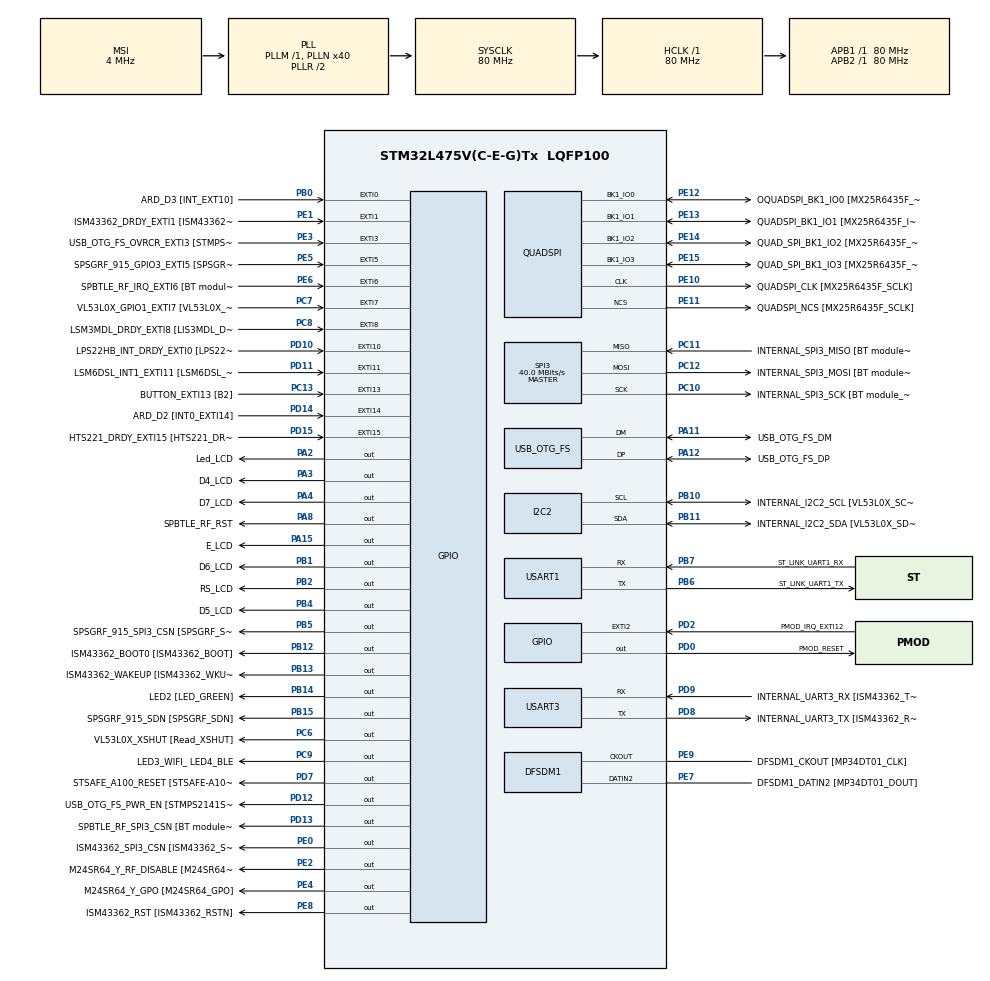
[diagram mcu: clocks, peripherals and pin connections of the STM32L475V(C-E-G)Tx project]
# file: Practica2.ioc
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I2C2.Timing=0x10909CEC
Mcu.Family=STM32L4
Mcu.Name=STM32L475V(C-E-G)Tx
Mcu.Package=LQFP100
NVIC.EXTI15_10_IRQn=true\:0\:0\:false\:false\:true\:true\:true\:true
NVIC.EXTI9_5_IRQn=true\:0\:0\:false\:false\:true\:true\:true\:true
NVIC.PriorityGroup=NVIC_PRIORITYGROUP_4
PA0.GPIO_Label=ARD_D1 [UART4_TX]
PA0.Signal=UART4_TX
PA1.GPIO_Label=ARD_D0 [UART4_RX]
PA1.Signal=UART4_RX
PA10.GPIO_Label=USB_OTG_FS_ID
PA10.Signal=USB_OTG_FS_ID
PA11.GPIO_Label=USB_OTG_FS_DM
PA11.Mode=Device_Only
PA11.Signal=USB_OTG_FS_DM
PA12.GPIO_Label=USB_OTG_FS_DP
PA12.Mode=Device_Only
PA12.Signal=USB_OTG_FS_DP
PA13\ (JTMS-SWDIO).GPIO_Label=SYS_JTMS_SWDIO
PA13\ (JTMS-SWDIO).Mode=Serial_Wire
PA13\ (JTMS-SWDIO).Signal=SYS_JTMS-SWDIO
PA14\ (JTCK-SWCLK).GPIO_Label=SYS_JTCK_SWCLK
PA14\ (JTCK-SWCLK).Mode=Serial_Wire
PA14\ (JTCK-SWCLK).Signal=SYS_JTCK-SWCLK
PA15\ (JTDI).GPIO_Label=E_LCD
PA15\ (JTDI).Signal=GPIO_Output
PA2.GPIO_Label=Led_LCD
PA2.Signal=GPIO_Output
PA3.GPIO_Label=D4_LCD
PA3.Signal=GPIO_Output
PA4.GPIO_Label=D7_LCD
PA4.Signal=GPIO_Output
PA5.GPIO_Label=ARD_D13 [SPI1_SCK]
PA5.Signal=SPI1_SCK
PA6.GPIO_Label=ARD_D12 [SPI1_MISO]
PA6.Signal=SPI1_MISO
PA7.GPIO_Label=ARD_D11 [SPI1_MOSI]
PA7.Signal=SPI1_MOSI
PA8.GPIO_Label=SPBTLE_RF_RST
PA8.Signal=GPIO_Output
PA9.GPIO_Label=USB_OTG_FS_VBUS [STMPS2141STR_OUT]
PA9.Signal=USB_OTG_FS_VBUS
PB0.GPIO_Label=ARD_D3 [INT_EXT10]
PB0.Signal=GPXTI0
PB1.GPIO_Label=D6_LCD
PB1.Signal=GPIO_Output
PB10.GPIO_Label=INTERNAL_I2C2_SCL [VL53L0X_SCL]
PB10.GPIO_Pu=GPIO_PULLUP
PB10.Mode=I2C
PB10.Signal=I2C2_SCL
PB11.GPIO_Label=INTERNAL_I2C2_SDA [VL53L0X_SDA]
PB11.GPIO_Pu=GPIO_PULLUP
PB11.Mode=I2C
PB11.Signal=I2C2_SDA
PB12.GPIO_Label=ISM43362_BOOT0 [ISM43362_BOOT]
PB12.Signal=GPIO_Output
PB13.GPIO_Label=ISM43362_WAKEUP [ISM43362_WKUP]
PB13.Signal=GPIO_Output
PB14.GPIO_Label=LED2 [LED_GREEN]
PB14.Signal=GPIO_Output
PB15.GPIO_Label=SPSGRF_915_SDN [SPSGRF_SDN]
PB15.Signal=GPIO_Output
PB2.GPIO_Label=RS_LCD
PB2.Signal=GPIO_Output
PB3\ (JTDO-TRACESWO).GPIO_Label=SYS_JTD0_SWO
PB3\ (JTDO-TRACESWO).Signal=SYS_JTDO-SWO
PB4\ (NJTRST).GPIO_Label=D5_LCD
PB4\ (NJTRST).Signal=GPIO_Output
PB5.GPIO_Label=SPSGRF_915_SPI3_CSN [SPSGRF_SPI_CS]
PB5.PinState=GPIO_PIN_SET
PB5.Signal=GPIO_Output
PB6.GPIO_Label=ST_LINK_UART1_TX
PB6.Mode=Asynchronous
PB6.Signal=USART1_TX
PB7.GPIO_Label=ST_LINK_UART1_RX
PB7.Mode=Asynchronous
PB7.Signal=USART1_RX
PB8.GPIO_Label=ARD_D15 [I2C1_SCL]
PB8.Signal=I2C1_SCL
PB9.GPIO_Label=ARD_D14 [I2C1_SDA]
PB9.Signal=I2C1_SDA
PC0.GPIO_Label=ARD_A5 [ADC]
PC0.Signal=ADCx_IN1
PC1.GPIO_Label=ARD_A4 [ADC]
PC1.Signal=ADCx_IN2
PC10.GPIO_Label=INTERNAL_SPI3_SCK [BT module_SPI_SCLK] [ISM43362_SCK]
PC10.Mode=Full_Duplex_Master
PC10.Signal=SPI3_SCK
PC11.GPIO_Label=INTERNAL_SPI3_MISO [BT module_SPI_MISO] [ISM43362_MISO]
PC11.Mode=Full_Duplex_Master
PC11.Signal=SPI3_MISO
PC12.GPIO_Label=INTERNAL_SPI3_MOSI [BT module_SPI_MOSI] [ISM43362_MOSI]
PC12.Mode=Full_Duplex_Master
PC12.Signal=SPI3_MOSI
PC13.GPIO_Label=BUTTON_EXTI13 [B2]
PC13.GPIO_ModeDefaultEXTI=GPIO_MODE_IT_RISING_FALLING
PC13.GPIO_PuPd=GPIO_NOPULL
PC13.Signal=GPXTI13
PC14-OSC32_IN\ (PC14).Mode=LSE-External-Oscillator
PC14-OSC32_IN\ (PC14).Signal=RCC_OSC32_IN
PC15-OSC32_OUT\ (PC15).Mode=LSE-External-Oscillator
PC15-OSC32_OUT\ (PC15).Signal=RCC_OSC32_OUT
PC2.GPIO_Label=ARD_A3 [ADC]
PC2.Signal=ADCx_IN3
PC3.GPIO_Label=ARD_A2 [ADC]
PC3.Signal=ADCx_IN4
PC4.GPIO_Label=ARD_A1 [ADC]
PC4.Signal=ADCx_IN13
PC5.GPIO_Label=ARD_A0 [ADC]
PC5.Signal=ADCx_IN14
PC6.GPIO_Label=VL53L0X_XSHUT [Read_XSHUT]
PC6.Signal=GPIO_Output
PC7.GPIO_Label=VL53L0X_GPIO1_EXTI7 [VL53L0X_GPIO1]
PC7.Signal=GPXTI7
PC8.GPIO_Label=LSM3MDL_DRDY_EXTI8 [LIS3MDL_DRDY]
PC8.Signal=GPXTI8
PC9.GPIO_Label=LED3_WIFI_ LED4_BLE
PC9.Signal=GPIO_Output
PD0.GPIO_Label=PMOD_RESET
PD0.Signal=GPIO_Output
PD1.GPIO_Label=PMOD_SPI2_SCK
PD1.Signal=SPI2_SCK
PD10.GPIO_Label=LPS22HB_INT_DRDY_EXTI0 [LPS22HB_INT_DRDY] 
PD10.Signal=GPXTI10
PD11.GPIO_Label=LSM6DSL_INT1_EXTI11 [LSM6DSL_INT1]
PD11.Signal=GPXTI11
PD12.GPIO_Label=USB_OTG_FS_PWR_EN [STMPS2141STR_EN]
PD12.Signal=GPIO_Output
PD13.GPIO_Label=SPBTLE_RF_SPI3_CSN [BT module_SPI_CS]
PD13.PinState=GPIO_PIN_SET
PD13.Signal=GPIO_Output
PD14.GPIO_Label=ARD_D2 [INT0_EXTI14]
PD14.Signal=GPXTI14
PD15.GPIO_Label=HTS221_DRDY_EXTI15 [HTS221_DRDY]
PD15.Signal=GPXTI15
PD2.GPIO_Label=PMOD_IRQ_EXTI12
PD2.Signal=GPXTI2
PD3.GPIO_Label=PMOD_UART2_CTS
PD3.Signal=USART2_CTS
PD4.GPIO_Label=PMOD_UART2_RTS
PD4.Signal=USART2_RTS
PD5.GPIO_Label=PMOD_UART2_TX
PD5.Signal=USART2_TX
PD6.GPIO_Label=PMOD_UART2_RX
PD6.Signal=USART2_RX
PD7.GPIO_Label=STSAFE_A100_RESET [STSAFE-A100_RESET]
PD7.Signal=GPIO_Output
PD8.GPIO_Label=INTERNAL_UART3_TX [ISM43362_RX]
PD8.Mode=Asynchronous
PD8.Signal=USART3_TX
PD9.GPIO_Label=INTERNAL_UART3_RX [ISM43362_TX]
PD9.Mode=Asynchronous
PD9.Signal=USART3_RX
PE0.GPIO_Label=ISM43362_SPI3_CSN [ISM43362_SSN]
PE0.PinState=GPIO_PIN_SET
PE0.Signal=GPIO_Output
PE1.GPIO_Label=ISM43362_DRDY_EXTI1 [ISM43362_DATARDY]
PE1.Signal=GPXTI1
PE10.GPIO_Label=QUADSPI_CLK [MX25R6435F_SCLK]
PE10.Mode=Single Bank
PE10.Signal=QUADSPI_CLK
PE11.GPIO_Label=QUADSPI_NCS [MX25R6435F_SCLK]
PE11.Mode=Single Bank
PE11.Signal=QUADSPI_NCS
PE12.GPIO_Label=OQUADSPI_BK1_IO0 [MX25R6435F_IO0]
PE12.Mode=Single Bank
PE12.Signal=QUADSPI_BK1_IO0
PE13.GPIO_Label=QUADSPI_BK1_IO1 [MX25R6435F_IO1]
PE13.Mode=Single Bank
PE13.Signal=QUADSPI_BK1_IO1
PE14.GPIO_Label=QUAD_SPI_BK1_IO2 [MX25R6435F_IO2]
PE14.Mode=Single Bank
PE14.Signal=QUADSPI_BK1_IO2
PE15.GPIO_Label=QUAD_SPI_BK1_IO3 [MX25R6435F_IO3]
PE15.Mode=Single Bank
PE15.Signal=QUADSPI_BK1_IO3
PE2.GPIO_Label=M24SR64_Y_RF_DISABLE [M24SR64_RFDIS]
PE2.Signal=GPIO_Output
PE3.GPIO_Label=USB_OTG_FS_OVRCR_EXTI3 [STMPS2141STR_FAULT]
PE3.Signal=GPXTI3
PE4.GPIO_Label=M24SR64_Y_GPO [M24SR64_GPO]
PE4.Signal=GPIO_Output
PE5.GPIO_Label=SPSGRF_915_GPIO3_EXTI5 [SPSGRF_GPIO_3]
PE5.Signal=GPXTI5
PE6.GPIO_Label=SPBTLE_RF_IRQ_EXTI6 [BT module_SPI_IRQ]
PE6.Signal=GPXTI6
PE7.GPIO_Label=DFSDM1_DATIN2 [MP34DT01_DOUT]
PE7.Signal=S_DATAIN2DFSDM1
PE8.GPIO_Label=ISM43362_RST [ISM43362_RSTN]
PE8.Signal=GPIO_Output
PE9.GPIO_Label=DFSDM1_CKOUT [MP34DT01_CLK]
PE9.Signal=S_CKOUTDFSDM1
ProjectManager.HeapSize=0x200
ProjectManager.StackSize=0x400
ProjectManager.TargetToolchain=STM32CubeIDE
QUADSPI.ClockPrescaler=2
QUADSPI.FifoThreshold=4
QUADSPI.FlashSize=23
QUADSPI.SampleShifting=QSPI_SAMPLE_SHIFTING_HALFCYCLE
RCC.ADCFreq_Value=48000000
RCC.AHBFreq_Value=80000000
RCC.APB1Freq_Value=80000000
RCC.APB1TimFreq_Value=80000000
RCC.APB2Freq_Value=80000000
RCC.APB2TimFreq_Value=80000000
RCC.CortexFreq_Value=80000000
RCC.HCLKFreq_Value=80000000
RCC.HSE_VALUE=8000000
RCC.HSI_VALUE=16000000
RCC.MSI_VALUE=4000000
RCC.PLLN=40
RCC.PLLSAI1N=24
RCC.SYSCLKFreq_VALUE=80000000
RCC.SYSCLKSource=RCC_SYSCLKSOURCE_PLLCLK
RCC.USBFreq_Value=48000000
RCC.VCOOutputFreq_Value=160000000
SH.ADCx_IN1.0=ADC1_IN1
SH.ADCx_IN13.0=ADC1_IN13
SH.ADCx_IN14.0=ADC1_IN14
SH.ADCx_IN2.0=ADC1_IN2
SH.ADCx_IN3.0=ADC1_IN3
SH.ADCx_IN4.0=ADC1_IN4
SH.S_CKOUTDFSDM1.0=DFSDM1_CKOUT,CKOUT
SH.S_CKOUTDFSDM1.1=DFSDM1_CKOUT,PDM_SPI_Input_from_ch12_and_Internal_Clock
SH.S_DATAIN2DFSDM1.0=DFSDM1_DATIN2,PDM_SPI_Input_from_ch12_and_Internal_Clock
SPI3.CalculateBaudRate=40.0 MBits/s
SPI3.Direction=SPI_DIRECTION_2LINES
SPI3.Mode=SPI_MODE_MASTER
SPI3.VirtualType=VM_MASTER
USART1.VirtualMode-Asynchronous=VM_ASYNC
USART3.VirtualMode-Asynchronous=VM_ASYNC
USB_OTG_FS.VirtualMode=Device_Only
board=B-L475E-IOT01A2

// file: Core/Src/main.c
/* USER CODE BEGIN Header */
/**
 ******************************************************************************
 * @file           : main.c
 * @brief          : Main program body
 ******************************************************************************
 * @attention
 *
 * Copyright (c) 2024 STMicroelectronics.
 * All rights reserved.
 *
 * This software is licensed under terms that can be found in the LICENSE file
 * in the root directory of this software component.
 * If no LICENSE file comes with this software, it is provided AS-IS.
 *
 ******************************************************************************
 */
/* USER CODE END Header */
#include "main.h"

/* USER CODE BEGIN Includes */
#include "hd44780.h"

/* USER CODE END Includes */

DFSDM_Channel_HandleTypeDef hdfsdm1_channel1;

I2C_HandleTypeDef hi2c2;

QSPI_HandleTypeDef hqspi;

SPI_HandleTypeDef hspi3;

UART_HandleTypeDef huart1;
UART_HandleTypeDef huart3;

PCD_HandleTypeDef hpcd_USB_OTG_FS;

void SystemClock_Config(void);
static void MX_GPIO_Init(void);
static void MX_DFSDM1_Init(void);
static void MX_I2C2_Init(void);
static void MX_QUADSPI_Init(void);
static void MX_SPI3_Init(void);
static void MX_USART1_UART_Init(void);
static void MX_USART3_UART_Init(void);
static void MX_USB_OTG_FS_PCD_Init(void);

int main(void)
{

  /* MCU Configuration--------------------------------------------------------*/

  /* Reset of all peripherals, Initializes the Flash interface and the Systick. */
  HAL_Init();

  /* Configure the system clock */
  SystemClock_Config();

  /* Initialize all configured peripherals */
  MX_GPIO_Init();
  MX_DFSDM1_Init();
  MX_I2C2_Init();
  MX_QUADSPI_Init();
  MX_SPI3_Init();
  MX_USART1_UART_Init();
  MX_USART3_UART_Init();
  MX_USB_OTG_FS_PCD_Init();
  /* USER CODE BEGIN 2 */
	lcd_reset();
	lcd_display_settings(1, 0, 0);
	LL_GPIO_SetOutputPin(Led_LCD_GPIO_Port, Led_LCD_Pin);
	lcd_clear();
	//lcd_print("hola mundo");
	//lcd__print(HAL_GetDEVID()); no sirve, da error
	//writeIntegerToLCD(HAL_GetDEVID()); // esta si funciona qya que escribe
	// EScribimos en la ram de caracteres del lcd
	lcd_cgram_address(0); // empezamos en la direccion 0

	// se selecciona la dirección 0 de la CGRAM, patrón con código 0
	//Convertir a binario
	lcd_write(0b00010101, 1);//15
	lcd_write(0b00010101,1);//15
	lcd_write(0b00001110,1);//e
	lcd_write(0b00000100,1);//4
	lcd_write(0b00000100,1);//4
	lcd_write(0b00001010,1);//a
	lcd_write(0b00010001,1);//11
	lcd_write(0b00000000,1);//00
	//2 caracter
	lcd_cgram_address(8);
	lcd_write(0b00000100,1);//4
	lcd_write(0b00000100,1);//4
	lcd_write(0b00001110,1);//e
	lcd_write(0b00010101,1);//15
	lcd_write(0b00010101,1);//15
	lcd_write(0b00001010,1);//a
	lcd_write(0b00001010,1);//a
	lcd_write(0b00000000,1);//00
	lcd_display_address(0);

  /* USER CODE END 2 */

  /* Infinite loop */
  /* USER CODE BEGIN WHILE */
	// creo que las podemos meter dentro del while si las declaramos como static
	//int contador = 0; // controla si entramosen alguna de las fases de A
	//int estado_muneco = 0; // controla  que subfase de a ejecutamos
	while (1) {
		moveToXY(1,7); //sitúa el cursor en la posición fila 1 columna 7, primer muñeco
		lcd_write(0,1); //escribe el nuevo patrón 0 en la DDRAM
		moveToXY(1,8); //sitúa el cursor en la posición fila 1 columna 7, segundo muñeco
		lcd_write(0,1);
		HAL_Delay(1000); //retraso de 1 segundo para dejar ver la figura en pantallamoveToXY(1,7);
		moveToXY(1,7);
		lcd_write(1,1); //escribe el nuevo patrón 0 en la DDRAM
		moveToXY(1,8);
		lcd_write(1,1);
		HAL_Delay(1000);
    /* USER CODE END WHILE */

	}
}

void SystemClock_Config(void)
{
  RCC_OscInitTypeDef RCC_OscInitStruct = {0};
  RCC_ClkInitTypeDef RCC_ClkInitStruct = {0};

  /** Configure the main internal regulator output voltage
  */
  if (HAL_PWREx_ControlVoltageScaling(PWR_REGULATOR_VOLTAGE_SCALE1) != HAL_OK)
  {
    Error_Handler();
  }

  /** Configure LSE Drive Capability
  */
  HAL_PWR_EnableBkUpAccess();
  __HAL_RCC_LSEDRIVE_CONFIG(RCC_LSEDRIVE_LOW);

  /** Initializes the RCC Oscillators according to the specified parameters
  * in the RCC_OscInitTypeDef structure.
  */
  RCC_OscInitStruct.OscillatorType = RCC_OSCILLATORTYPE_LSE|RCC_OSCILLATORTYPE_MSI;
  RCC_OscInitStruct.LSEState = RCC_LSE_ON;
  RCC_OscInitStruct.MSIState = RCC_MSI_ON;
  RCC_OscInitStruct.MSICalibrationValue = 0;
  RCC_OscInitStruct.MSIClockRange = RCC_MSIRANGE_6;
  RCC_OscInitStruct.PLL.PLLState = RCC_PLL_ON;
  RCC_OscInitStruct.PLL.PLLSource = RCC_PLLSOURCE_MSI;
  RCC_OscInitStruct.PLL.PLLM = 1;
  RCC_OscInitStruct.PLL.PLLN = 40;
  RCC_OscInitStruct.PLL.PLLP = RCC_PLLP_DIV7;
  RCC_OscInitStruct.PLL.PLLQ = RCC_PLLQ_DIV2;
  RCC_OscInitStruct.PLL.PLLR = RCC_PLLR_DIV2;
  if (HAL_RCC_OscConfig(&RCC_OscInitStruct) != HAL_OK)
  {
    Error_Handler();
  }

  /** Initializes the CPU, AHB and APB buses clocks
  */
  RCC_ClkInitStruct.ClockType = RCC_CLOCKTYPE_HCLK|RCC_CLOCKTYPE_SYSCLK
                              |RCC_CLOCKTYPE_PCLK1|RCC_CLOCKTYPE_PCLK2;
  RCC_ClkInitStruct.SYSCLKSource = RCC_SYSCLKSOURCE_PLLCLK;
  RCC_ClkInitStruct.AHBCLKDivider = RCC_SYSCLK_DIV1;
  RCC_ClkInitStruct.APB1CLKDivider = RCC_HCLK_DIV1;
  RCC_ClkInitStruct.APB2CLKDivider = RCC_HCLK_DIV1;

  if (HAL_RCC_ClockConfig(&RCC_ClkInitStruct, FLASH_LATENCY_4) != HAL_OK)
  {
    Error_Handler();
  }

  /** Enable MSI Auto calibration
  */
  HAL_RCCEx_EnableMSIPLLMode();
}

static void MX_DFSDM1_Init(void)
{

  hdfsdm1_channel1.Instance = DFSDM1_Channel1;
  hdfsdm1_channel1.Init.OutputClock.Activation = ENABLE;
  hdfsdm1_channel1.Init.OutputClock.Selection = DFSDM_CHANNEL_OUTPUT_CLOCK_SYSTEM;
  hdfsdm1_channel1.Init.OutputClock.Divider = 2;
  hdfsdm1_channel1.Init.Input.Multiplexer = DFSDM_CHANNEL_EXTERNAL_INPUTS;
  hdfsdm1_channel1.Init.Input.DataPacking = DFSDM_CHANNEL_STANDARD_MODE;
  hdfsdm1_channel1.Init.Input.Pins = DFSDM_CHANNEL_FOLLOWING_CHANNEL_PINS;
  hdfsdm1_channel1.Init.SerialInterface.Type = DFSDM_CHANNEL_SPI_RISING;
  hdfsdm1_channel1.Init.SerialInterface.SpiClock = DFSDM_CHANNEL_SPI_CLOCK_INTERNAL;
  hdfsdm1_channel1.Init.Awd.FilterOrder = DFSDM_CHANNEL_FASTSINC_ORDER;
  hdfsdm1_channel1.Init.Awd.Oversampling = 1;
  hdfsdm1_channel1.Init.Offset = 0;
  hdfsdm1_channel1.Init.RightBitShift = 0x00;
  if (HAL_DFSDM_ChannelInit(&hdfsdm1_channel1) != HAL_OK)
  {
    Error_Handler();
  }

}

static void MX_I2C2_Init(void)
{

  hi2c2.Instance = I2C2;
  hi2c2.Init.Timing = 0x10909CEC;
  hi2c2.Init.OwnAddress1 = 0;
  hi2c2.Init.AddressingMode = I2C_ADDRESSINGMODE_7BIT;
  hi2c2.Init.DualAddressMode = I2C_DUALADDRESS_DISABLE;
  hi2c2.Init.OwnAddress2 = 0;
  hi2c2.Init.OwnAddress2Masks = I2C_OA2_NOMASK;
  hi2c2.Init.GeneralCallMode = I2C_GENERALCALL_DISABLE;
  hi2c2.Init.NoStretchMode = I2C_NOSTRETCH_DISABLE;
  if (HAL_I2C_Init(&hi2c2) != HAL_OK)
  {
    Error_Handler();
  }

  /** Configure Analogue filter
  */
  if (HAL_I2CEx_ConfigAnalogFilter(&hi2c2, I2C_ANALOGFILTER_ENABLE) != HAL_OK)
  {
    Error_Handler();
  }

  /** Configure Digital filter
  */
  if (HAL_I2CEx_ConfigDigitalFilter(&hi2c2, 0) != HAL_OK)
  {
    Error_Handler();
  }

}

static void MX_QUADSPI_Init(void)
{

  /* QUADSPI parameter configuration*/
  hqspi.Instance = QUADSPI;
  hqspi.Init.ClockPrescaler = 2;
  hqspi.Init.FifoThreshold = 4;
  hqspi.Init.SampleShifting = QSPI_SAMPLE_SHIFTING_HALFCYCLE;
  hqspi.Init.FlashSize = 23;
  hqspi.Init.ChipSelectHighTime = QSPI_CS_HIGH_TIME_1_CYCLE;
  hqspi.Init.ClockMode = QSPI_CLOCK_MODE_0;
  if (HAL_QSPI_Init(&hqspi) != HAL_OK)
  {
    Error_Handler();
  }

}

static void MX_SPI3_Init(void)
{

  /* SPI3 parameter configuration*/
  hspi3.Instance = SPI3;
  hspi3.Init.Mode = SPI_MODE_MASTER;
  hspi3.Init.Direction = SPI_DIRECTION_2LINES;
  hspi3.Init.DataSize = SPI_DATASIZE_4BIT;
  hspi3.Init.CLKPolarity = SPI_POLARITY_LOW;
  hspi3.Init.CLKPhase = SPI_PHASE_1EDGE;
  hspi3.Init.NSS = SPI_NSS_SOFT;
  hspi3.Init.BaudRatePrescaler = SPI_BAUDRATEPRESCALER_2;
  hspi3.Init.FirstBit = SPI_FIRSTBIT_MSB;
  hspi3.Init.TIMode = SPI_TIMODE_DISABLE;
  hspi3.Init.CRCCalculation = SPI_CRCCALCULATION_DISABLE;
  hspi3.Init.CRCPolynomial = 7;
  hspi3.Init.CRCLength = SPI_CRC_LENGTH_DATASIZE;
  hspi3.Init.NSSPMode = SPI_NSS_PULSE_ENABLE;
  if (HAL_SPI_Init(&hspi3) != HAL_OK)
  {
    Error_Handler();
  }

}

static void MX_USART1_UART_Init(void)
{

  huart1.Instance = USART1;
  huart1.Init.BaudRate = 115200;
  huart1.Init.WordLength = UART_WORDLENGTH_8B;
  huart1.Init.StopBits = UART_STOPBITS_1;
  huart1.Init.Parity = UART_PARITY_NONE;
  huart1.Init.Mode = UART_MODE_TX_RX;
  huart1.Init.HwFlowCtl = UART_HWCONTROL_NONE;
  huart1.Init.OverSampling = UART_OVERSAMPLING_16;
  huart1.Init.OneBitSampling = UART_ONE_BIT_SAMPLE_DISABLE;
  huart1.AdvancedInit.AdvFeatureInit = UART_ADVFEATURE_NO_INIT;
  if (HAL_UART_Init(&huart1) != HAL_OK)
  {
    Error_Handler();
  }

}

static void MX_USART3_UART_Init(void)
{

  huart3.Instance = USART3;
  huart3.Init.BaudRate = 115200;
  huart3.Init.WordLength = UART_WORDLENGTH_8B;
  huart3.Init.StopBits = UART_STOPBITS_1;
  huart3.Init.Parity = UART_PARITY_NONE;
  huart3.Init.Mode = UART_MODE_TX_RX;
  huart3.Init.HwFlowCtl = UART_HWCONTROL_NONE;
  huart3.Init.OverSampling = UART_OVERSAMPLING_16;
  huart3.Init.OneBitSampling = UART_ONE_BIT_SAMPLE_DISABLE;
  huart3.AdvancedInit.AdvFeatureInit = UART_ADVFEATURE_NO_INIT;
  if (HAL_UART_Init(&huart3) != HAL_OK)
  {
    Error_Handler();
  }

}

static void MX_USB_OTG_FS_PCD_Init(void)
{

  hpcd_USB_OTG_FS.Instance = USB_OTG_FS;
  hpcd_USB_OTG_FS.Init.dev_endpoints = 6;
  hpcd_USB_OTG_FS.Init.speed = PCD_SPEED_FULL;
  hpcd_USB_OTG_FS.Init.phy_itface = PCD_PHY_EMBEDDED;
  hpcd_USB_OTG_FS.Init.Sof_enable = DISABLE;
  hpcd_USB_OTG_FS.Init.low_power_enable = DISABLE;
  hpcd_USB_OTG_FS.Init.lpm_enable = DISABLE;
  hpcd_USB_OTG_FS.Init.battery_charging_enable = DISABLE;
  hpcd_USB_OTG_FS.Init.use_dedicated_ep1 = DISABLE;
  hpcd_USB_OTG_FS.Init.vbus_sensing_enable = DISABLE;
  if (HAL_PCD_Init(&hpcd_USB_OTG_FS) != HAL_OK)
  {
    Error_Handler();
  }

}

static void MX_GPIO_Init(void)
{
  LL_EXTI_InitTypeDef EXTI_InitStruct = {0};
  LL_GPIO_InitTypeDef GPIO_InitStruct = {0};

  /* GPIO Ports Clock Enable */
  LL_AHB2_GRP1_EnableClock(LL_AHB2_GRP1_PERIPH_GPIOE);
  LL_AHB2_GRP1_EnableClock(LL_AHB2_GRP1_PERIPH_GPIOC);
  LL_AHB2_GRP1_EnableClock(LL_AHB2_GRP1_PERIPH_GPIOA);
  LL_AHB2_GRP1_EnableClock(LL_AHB2_GRP1_PERIPH_GPIOB);
  LL_AHB2_GRP1_EnableClock(LL_AHB2_GRP1_PERIPH_GPIOD);

  /**/
  LL_GPIO_ResetOutputPin(GPIOE, M24SR64_Y_RF_DISABLE_Pin|M24SR64_Y_GPO_Pin|ISM43362_RST_Pin);

  /**/
  LL_GPIO_ResetOutputPin(GPIOA, Led_LCD_Pin|D4_LCD_Pin|D7_LCD_Pin|SPBTLE_RF_RST_Pin
                          |E_LCD_Pin);

  /**/
  LL_GPIO_ResetOutputPin(GPIOB, D6_LCD_Pin|RS_LCD_Pin|ISM43362_BOOT0_Pin|ISM43362_WAKEUP_Pin
                          |LED2_Pin|SPSGRF_915_SDN_Pin|D5_LCD_Pin);

  /**/
  LL_GPIO_ResetOutputPin(GPIOD, USB_OTG_FS_PWR_EN_Pin|PMOD_RESET_Pin|STSAFE_A100_RESET_Pin);

  /**/
  LL_GPIO_ResetOutputPin(GPIOC, VL53L0X_XSHUT_Pin|LED3_WIFI__LED4_BLE_Pin);

  /**/
  LL_GPIO_SetOutputPin(SPBTLE_RF_SPI3_CSN_GPIO_Port, SPBTLE_RF_SPI3_CSN_Pin);

  /**/
  LL_GPIO_SetOutputPin(SPSGRF_915_SPI3_CSN_GPIO_Port, SPSGRF_915_SPI3_CSN_Pin);

  /**/
  LL_GPIO_SetOutputPin(ISM43362_SPI3_CSN_GPIO_Port, ISM43362_SPI3_CSN_Pin);

  /**/
  GPIO_InitStruct.Pin = M24SR64_Y_RF_DISABLE_Pin|M24SR64_Y_GPO_Pin|ISM43362_RST_Pin|ISM43362_SPI3_CSN_Pin;
  GPIO_InitStruct.Mode = LL_GPIO_MODE_OUTPUT;
  GPIO_InitStruct.Speed = LL_GPIO_SPEED_FREQ_LOW;
  GPIO_InitStruct.OutputType = LL_GPIO_OUTPUT_PUSHPULL;
  GPIO_InitStruct.Pull = LL_GPIO_PULL_NO;
  LL_GPIO_Init(GPIOE, &GPIO_InitStruct);

  /**/
  GPIO_InitStruct.Pin = ARD_A5_Pin|ARD_A4_Pin|ARD_A3_Pin|ARD_A2_Pin
                          |ARD_A1_Pin|ARD_A0_Pin;
  GPIO_InitStruct.Mode = LL_GPIO_MODE_ANALOG;
  GPIO_InitStruct.Pull = LL_GPIO_PULL_NO;
  LL_GPIO_Init(GPIOC, &GPIO_InitStruct);

  /**/
  GPIO_InitStruct.Pin = ARD_D1_Pin|ARD_D0_Pin;
  GPIO_InitStruct.Mode = LL_GPIO_MODE_ALTERNATE;
  GPIO_InitStruct.Speed = LL_GPIO_SPEED_FREQ_VERY_HIGH;
  GPIO_InitStruct.OutputType = LL_GPIO_OUTPUT_PUSHPULL;
  GPIO_InitStruct.Pull = LL_GPIO_PULL_NO;
  GPIO_InitStruct.Alternate = LL_GPIO_AF_8;
  LL_GPIO_Init(GPIOA, &GPIO_InitStruct);

  /**/
  GPIO_InitStruct.Pin = Led_LCD_Pin|D4_LCD_Pin|D7_LCD_Pin|SPBTLE_RF_RST_Pin
                          |E_LCD_Pin;
  GPIO_InitStruct.Mode = LL_GPIO_MODE_OUTPUT;
  GPIO_InitStruct.Speed = LL_GPIO_SPEED_FREQ_LOW;
  GPIO_InitStruct.OutputType = LL_GPIO_OUTPUT_PUSHPULL;
  GPIO_InitStruct.Pull = LL_GPIO_PULL_NO;
  LL_GPIO_Init(GPIOA, &GPIO_InitStruct);

  /**/
  GPIO_InitStruct.Pin = ARD_D13_Pin|ARD_D12_Pin|ARD_D11_Pin;
  GPIO_InitStruct.Mode = LL_GPIO_MODE_ALTERNATE;
  GPIO_InitStruct.Speed = LL_GPIO_SPEED_FREQ_VERY_HIGH;
  GPIO_InitStruct.OutputType = LL_GPIO_OUTPUT_PUSHPULL;
  GPIO_InitStruct.Pull = LL_GPIO_PULL_NO;
  GPIO_InitStruct.Alternate = LL_GPIO_AF_5;
  LL_GPIO_Init(GPIOA, &GPIO_InitStruct);

  /**/
  GPIO_InitStruct.Pin = D6_LCD_Pin|RS_LCD_Pin|ISM43362_BOOT0_Pin|ISM43362_WAKEUP_Pin
                          |LED2_Pin|SPSGRF_915_SDN_Pin|D5_LCD_Pin|SPSGRF_915_SPI3_CSN_Pin;
  GPIO_InitStruct.Mode = LL_GPIO_MODE_OUTPUT;
  GPIO_InitStruct.Speed = LL_GPIO_SPEED_FREQ_LOW;
  GPIO_InitStruct.OutputType = LL_GPIO_OUTPUT_PUSHPULL;
  GPIO_InitStruct.Pull = LL_GPIO_PULL_NO;
  LL_GPIO_Init(GPIOB, &GPIO_InitStruct);

  /**/
  GPIO_InitStruct.Pin = USB_OTG_FS_PWR_EN_Pin|SPBTLE_RF_SPI3_CSN_Pin|PMOD_RESET_Pin|STSAFE_A100_RESET_Pin;
  GPIO_InitStruct.Mode = LL_GPIO_MODE_OUTPUT;
  GPIO_InitStruct.Speed = LL_GPIO_SPEED_FREQ_LOW;
  GPIO_InitStruct.OutputType = LL_GPIO_OUTPUT_PUSHPULL;
  GPIO_InitStruct.Pull = LL_GPIO_PULL_NO;
  LL_GPIO_Init(GPIOD, &GPIO_InitStruct);

  /**/
  GPIO_InitStruct.Pin = VL53L0X_XSHUT_Pin|LED3_WIFI__LED4_BLE_Pin;
  GPIO_InitStruct.Mode = LL_GPIO_MODE_OUTPUT;
  GPIO_InitStruct.Speed = LL_GPIO_SPEED_FREQ_LOW;
  GPIO_InitStruct.OutputType = LL_GPIO_OUTPUT_PUSHPULL;
  GPIO_InitStruct.Pull = LL_GPIO_PULL_NO;
  LL_GPIO_Init(GPIOC, &GPIO_InitStruct);

  /**/
  GPIO_InitStruct.Pin = PMOD_SPI2_SCK_Pin;
  GPIO_InitStruct.Mode = LL_GPIO_MODE_ALTERNATE;
  GPIO_InitStruct.Speed = LL_GPIO_SPEED_FREQ_VERY_HIGH;
  GPIO_InitStruct.OutputType = LL_GPIO_OUTPUT_PUSHPULL;
  GPIO_InitStruct.Pull = LL_GPIO_PULL_NO;
  GPIO_InitStruct.Alternate = LL_GPIO_AF_5;
  LL_GPIO_Init(PMOD_SPI2_SCK_GPIO_Port, &GPIO_InitStruct);

  /**/
  GPIO_InitStruct.Pin = PMOD_UART2_CTS_Pin|PMOD_UART2_RTS_Pin|PMOD_UART2_TX_Pin|PMOD_UART2_RX_Pin;
  GPIO_InitStruct.Mode = LL_GPIO_MODE_ALTERNATE;
  GPIO_InitStruct.Speed = LL_GPIO_SPEED_FREQ_VERY_HIGH;
  GPIO_InitStruct.OutputType = LL_GPIO_OUTPUT_PUSHPULL;
  GPIO_InitStruct.Pull = LL_GPIO_PULL_NO;
  GPIO_InitStruct.Alternate = LL_GPIO_AF_7;
  LL_GPIO_Init(GPIOD, &GPIO_InitStruct);

  /**/
  GPIO_InitStruct.Pin = ARD_D15_Pin|ARD_D14_Pin;
  GPIO_InitStruct.Mode = LL_GPIO_MODE_ALTERNATE;
  GPIO_InitStruct.Speed = LL_GPIO_SPEED_FREQ_VERY_HIGH;
  GPIO_InitStruct.OutputType = LL_GPIO_OUTPUT_OPENDRAIN;
  GPIO_InitStruct.Pull = LL_GPIO_PULL_NO;
  GPIO_InitStruct.Alternate = LL_GPIO_AF_4;
  LL_GPIO_Init(GPIOB, &GPIO_InitStruct);

  /**/
  LL_SYSCFG_SetEXTISource(LL_SYSCFG_EXTI_PORTE, LL_SYSCFG_EXTI_LINE3);

  /**/
  LL_SYSCFG_SetEXTISource(LL_SYSCFG_EXTI_PORTE, LL_SYSCFG_EXTI_LINE5);

  /**/
  LL_SYSCFG_SetEXTISource(LL_SYSCFG_EXTI_PORTE, LL_SYSCFG_EXTI_LINE6);

  /**/
  LL_SYSCFG_SetEXTISource(LL_SYSCFG_EXTI_PORTC, LL_SYSCFG_EXTI_LINE13);

  /**/
  LL_SYSCFG_SetEXTISource(LL_SYSCFG_EXTI_PORTB, LL_SYSCFG_EXTI_LINE0);

  /**/
  LL_SYSCFG_SetEXTISource(LL_SYSCFG_EXTI_PORTD, LL_SYSCFG_EXTI_LINE10);

  /**/
  LL_SYSCFG_SetEXTISource(LL_SYSCFG_EXTI_PORTD, LL_SYSCFG_EXTI_LINE11);

  /**/
  LL_SYSCFG_SetEXTISource(LL_SYSCFG_EXTI_PORTD, LL_SYSCFG_EXTI_LINE14);

  /**/
  LL_SYSCFG_SetEXTISource(LL_SYSCFG_EXTI_PORTD, LL_SYSCFG_EXTI_LINE15);

  /**/
  LL_SYSCFG_SetEXTISource(LL_SYSCFG_EXTI_PORTC, LL_SYSCFG_EXTI_LINE7);

  /**/
  LL_SYSCFG_SetEXTISource(LL_SYSCFG_EXTI_PORTC, LL_SYSCFG_EXTI_LINE8);

  /**/
  LL_SYSCFG_SetEXTISource(LL_SYSCFG_EXTI_PORTD, LL_SYSCFG_EXTI_LINE2);

  /**/
  LL_SYSCFG_SetEXTISource(LL_SYSCFG_EXTI_PORTE, LL_SYSCFG_EXTI_LINE1);

  /**/
  EXTI_InitStruct.Line_0_31 = LL_EXTI_LINE_3;
  EXTI_InitStruct.Line_32_63 = LL_EXTI_LINE_NONE;
  EXTI_InitStruct.LineCommand = ENABLE;
  EXTI_InitStruct.Mode = LL_EXTI_MODE_IT;
  EXTI_InitStruct.Trigger = LL_EXTI_TRIGGER_RISING;
  LL_EXTI_Init(&EXTI_InitStruct);

  /**/
  EXTI_InitStruct.Line_0_31 = LL_EXTI_LINE_5;
  EXTI_InitStruct.Line_32_63 = LL_EXTI_LINE_NONE;
  EXTI_InitStruct.LineCommand = ENABLE;
  EXTI_InitStruct.Mode = LL_EXTI_MODE_IT;
  EXTI_InitStruct.Trigger = LL_EXTI_TRIGGER_RISING;
  LL_EXTI_Init(&EXTI_InitStruct);

  /**/
  EXTI_InitStruct.Line_0_31 = LL_EXTI_LINE_6;
  EXTI_InitStruct.Line_32_63 = LL_EXTI_LINE_NONE;
  EXTI_InitStruct.LineCommand = ENABLE;
  EXTI_InitStruct.Mode = LL_EXTI_MODE_IT;
  EXTI_InitStruct.Trigger = LL_EXTI_TRIGGER_RISING;
  LL_EXTI_Init(&EXTI_InitStruct);

  /**/
  EXTI_InitStruct.Line_0_31 = LL_EXTI_LINE_13;
  EXTI_InitStruct.Line_32_63 = LL_EXTI_LINE_NONE;
  EXTI_InitStruct.LineCommand = ENABLE;
  EXTI_InitStruct.Mode = LL_EXTI_MODE_IT;
  EXTI_InitStruct.Trigger = LL_EXTI_TRIGGER_RISING_FALLING;
  LL_EXTI_Init(&EXTI_InitStruct);

  /**/
  EXTI_InitStruct.Line_0_31 = LL_EXTI_LINE_0;
  EXTI_InitStruct.Line_32_63 = LL_EXTI_LINE_NONE;
  EXTI_InitStruct.LineCommand = ENABLE;
  EXTI_InitStruct.Mode = LL_EXTI_MODE_IT;
  EXTI_InitStruct.Trigger = LL_EXTI_TRIGGER_RISING;
  LL_EXTI_Init(&EXTI_InitStruct);

  /**/
  EXTI_InitStruct.Line_0_31 = LL_EXTI_LINE_10;
  EXTI_InitStruct.Line_32_63 = LL_EXTI_LINE_NONE;
  EXTI_InitStruct.LineCommand = ENABLE;
  EXTI_InitStruct.Mode = LL_EXTI_MODE_IT;
  EXTI_InitStruct.Trigger = LL_EXTI_TRIGGER_RISING;
  LL_EXTI_Init(&EXTI_InitStruct);

  /**/
  EXTI_InitStruct.Line_0_31 = LL_EXTI_LINE_11;
  EXTI_InitStruct.Line_32_63 = LL_EXTI_LINE_NONE;
  EXTI_InitStruct.LineCommand = ENABLE;
  EXTI_InitStruct.Mode = LL_EXTI_MODE_IT;
  EXTI_InitStruct.Trigger = LL_EXTI_TRIGGER_RISING;
  LL_EXTI_Init(&EXTI_InitStruct);

  /**/
  EXTI_InitStruct.Line_0_31 = LL_EXTI_LINE_14;
  EXTI_InitStruct.Line_32_63 = LL_EXTI_LINE_NONE;
  EXTI_InitStruct.LineCommand = ENABLE;
  EXTI_InitStruct.Mode = LL_EXTI_MODE_IT;
  EXTI_InitStruct.Trigger = LL_EXTI_TRIGGER_RISING;
  LL_EXTI_Init(&EXTI_InitStruct);

  /**/
  EXTI_InitStruct.Line_0_31 = LL_EXTI_LINE_15;
  EXTI_InitStruct.Line_32_63 = LL_EXTI_LINE_NONE;
  EXTI_InitStruct.LineCommand = ENABLE;
  EXTI_InitStruct.Mode = LL_EXTI_MODE_IT;
  EXTI_InitStruct.Trigger = LL_EXTI_TRIGGER_RISING;
  LL_EXTI_Init(&EXTI_InitStruct);

  /**/
  EXTI_InitStruct.Line_0_31 = LL_EXTI_LINE_7;
  EXTI_InitStruct.Line_32_63 = LL_EXTI_LINE_NONE;
  EXTI_InitStruct.LineCommand = ENABLE;
  EXTI_InitStruct.Mode = LL_EXTI_MODE_IT;
  EXTI_InitStruct.Trigger = LL_EXTI_TRIGGER_RISING;
  LL_EXTI_Init(&EXTI_InitStruct);

  /**/
  EXTI_InitStruct.Line_0_31 = LL_EXTI_LINE_8;
  EXTI_InitStruct.Line_32_63 = LL_EXTI_LINE_NONE;
  EXTI_InitStruct.LineCommand = ENABLE;
  EXTI_InitStruct.Mode = LL_EXTI_MODE_IT;
  EXTI_InitStruct.Trigger = LL_EXTI_TRIGGER_RISING;
  LL_EXTI_Init(&EXTI_InitStruct);

  /**/
  EXTI_InitStruct.Line_0_31 = LL_EXTI_LINE_2;
  EXTI_InitStruct.Line_32_63 = LL_EXTI_LINE_NONE;
  EXTI_InitStruct.LineCommand = ENABLE;
  EXTI_InitStruct.Mode = LL_EXTI_MODE_IT;
  EXTI_InitStruct.Trigger = LL_EXTI_TRIGGER_RISING;
  LL_EXTI_Init(&EXTI_InitStruct);

  /**/
  EXTI_InitStruct.Line_0_31 = LL_EXTI_LINE_1;
  EXTI_InitStruct.Line_32_63 = LL_EXTI_LINE_NONE;
  EXTI_InitStruct.LineCommand = ENABLE;
  EXTI_InitStruct.Mode = LL_EXTI_MODE_IT;
  EXTI_InitStruct.Trigger = LL_EXTI_TRIGGER_RISING;
  LL_EXTI_Init(&EXTI_InitStruct);

  /**/
  LL_GPIO_SetPinPull(USB_OTG_FS_OVRCR_EXTI3_GPIO_Port, USB_OTG_FS_OVRCR_EXTI3_Pin, LL_GPIO_PULL_NO);

  /**/
  LL_GPIO_SetPinPull(SPSGRF_915_GPIO3_EXTI5_GPIO_Port, SPSGRF_915_GPIO3_EXTI5_Pin, LL_GPIO_PULL_NO);

  /**/
  LL_GPIO_SetPinPull(SPBTLE_RF_IRQ_EXTI6_GPIO_Port, SPBTLE_RF_IRQ_EXTI6_Pin, LL_GPIO_PULL_NO);

  /**/
  LL_GPIO_SetPinPull(BUTTON_EXTI13_GPIO_Port, BUTTON_EXTI13_Pin, LL_GPIO_PULL_NO);

  /**/
  LL_GPIO_SetPinPull(ARD_D3_GPIO_Port, ARD_D3_Pin, LL_GPIO_PULL_NO);

  /**/
  LL_GPIO_SetPinPull(LPS22HB_INT_DRDY_EXTI0_GPIO_Port, LPS22HB_INT_DRDY_EXTI0_Pin, LL_GPIO_PULL_NO);

  /**/
  LL_GPIO_SetPinPull(LSM6DSL_INT1_EXTI11_GPIO_Port, LSM6DSL_INT1_EXTI11_Pin, LL_GPIO_PULL_NO);

  /**/
  LL_GPIO_SetPinPull(ARD_D2_GPIO_Port, ARD_D2_Pin, LL_GPIO_PULL_NO);

  /**/
  LL_GPIO_SetPinPull(HTS221_DRDY_EXTI15_GPIO_Port, HTS221_DRDY_EXTI15_Pin, LL_GPIO_PULL_NO);

  /**/
  LL_GPIO_SetPinPull(VL53L0X_GPIO1_EXTI7_GPIO_Port, VL53L0X_GPIO1_EXTI7_Pin, LL_GPIO_PULL_NO);

  /**/
  LL_GPIO_SetPinPull(LSM3MDL_DRDY_EXTI8_GPIO_Port, LSM3MDL_DRDY_EXTI8_Pin, LL_GPIO_PULL_NO);

  /**/
  LL_GPIO_SetPinPull(PMOD_IRQ_EXTI12_GPIO_Port, PMOD_IRQ_EXTI12_Pin, LL_GPIO_PULL_NO);

  /**/
  LL_GPIO_SetPinPull(ISM43362_DRDY_EXTI1_GPIO_Port, ISM43362_DRDY_EXTI1_Pin, LL_GPIO_PULL_NO);

  /**/
  LL_GPIO_SetPinMode(USB_OTG_FS_OVRCR_EXTI3_GPIO_Port, USB_OTG_FS_OVRCR_EXTI3_Pin, LL_GPIO_MODE_INPUT);

  /**/
  LL_GPIO_SetPinMode(SPSGRF_915_GPIO3_EXTI5_GPIO_Port, SPSGRF_915_GPIO3_EXTI5_Pin, LL_GPIO_MODE_INPUT);

  /**/
  LL_GPIO_SetPinMode(SPBTLE_RF_IRQ_EXTI6_GPIO_Port, SPBTLE_RF_IRQ_EXTI6_Pin, LL_GPIO_MODE_INPUT);

  /**/
  LL_GPIO_SetPinMode(BUTTON_EXTI13_GPIO_Port, BUTTON_EXTI13_Pin, LL_GPIO_MODE_INPUT);

  /**/
  LL_GPIO_SetPinMode(ARD_D3_GPIO_Port, ARD_D3_Pin, LL_GPIO_MODE_INPUT);

  /**/
  LL_GPIO_SetPinMode(LPS22HB_INT_DRDY_EXTI0_GPIO_Port, LPS22HB_INT_DRDY_EXTI0_Pin, LL_GPIO_MODE_INPUT);

  /**/
  LL_GPIO_SetPinMode(LSM6DSL_INT1_EXTI11_GPIO_Port, LSM6DSL_INT1_EXTI11_Pin, LL_GPIO_MODE_INPUT);

  /**/
  LL_GPIO_SetPinMode(ARD_D2_GPIO_Port, ARD_D2_Pin, LL_GPIO_MODE_INPUT);

  /**/
  LL_GPIO_SetPinMode(HTS221_DRDY_EXTI15_GPIO_Port, HTS221_DRDY_EXTI15_Pin, LL_GPIO_MODE_INPUT);

  /**/
  LL_GPIO_SetPinMode(VL53L0X_GPIO1_EXTI7_GPIO_Port, VL53L0X_GPIO1_EXTI7_Pin, LL_GPIO_MODE_INPUT);

  /**/
  LL_GPIO_SetPinMode(LSM3MDL_DRDY_EXTI8_GPIO_Port, LSM3MDL_DRDY_EXTI8_Pin, LL_GPIO_MODE_INPUT);

  /**/
  LL_GPIO_SetPinMode(PMOD_IRQ_EXTI12_GPIO_Port, PMOD_IRQ_EXTI12_Pin, LL_GPIO_MODE_INPUT);

  /**/
  LL_GPIO_SetPinMode(ISM43362_DRDY_EXTI1_GPIO_Port, ISM43362_DRDY_EXTI1_Pin, LL_GPIO_MODE_INPUT);

  /**/
  LL_GPIO_EnablePinAnalogControl(GPIOC, ARD_A5_Pin|ARD_A4_Pin|ARD_A3_Pin|ARD_A2_Pin
                          |ARD_A1_Pin|ARD_A0_Pin);

  /* EXTI interrupt init*/
  NVIC_SetPriority(EXTI9_5_IRQn, NVIC_EncodePriority(NVIC_GetPriorityGrouping(),0, 0));
  NVIC_EnableIRQ(EXTI9_5_IRQn);
  NVIC_SetPriority(EXTI15_10_IRQn, NVIC_EncodePriority(NVIC_GetPriorityGrouping(),0, 0));
  NVIC_EnableIRQ(EXTI15_10_IRQn);

}

/* USER CODE BEGIN 4 */
//void bucleScan(){
//	contador++;
//	// TAREA A
//			//subfase1
//			if (contador == 10 && estado_muneco == 1) {
//				moveToXY(1, 7);
//				lcd_write(0, 1);
//				moveToXY(1, 8);
//				lcd_write(0, 1);
//				contador = 0;
//				estado_muneco = 1;
//			}
//
//	//subfase 2
//			if (contador == 10 && estado_muneco == 1) {
//				moveToXY(1, 7);
//				lcd_write(1, 1);
//				moveToXY(1, 8);
//				lcd_write(1, 1);
//				contador = 0;
//				estado_muneco = 0;
//			}
//	// tarea B
//			if (LL_GPIO_IsInputPinSet(BUTTON_EXTI13_GPIO_Port, BUTTON_EXTI13_Pin))
//			LL_GPIO_SetOutputPin(LED2_GPIO_Port, LED2_Pin);
//			else
//			LL_GPIO_ResetOutputPin(LED2_GPIO_Port, LED2_Pin);
//	//tarea c
//			LL_mDelay(100);
//}
/* USER CODE END 4 */

void Error_Handler(void)
{
	__disable_irq();
	while (1) {
	}
}
